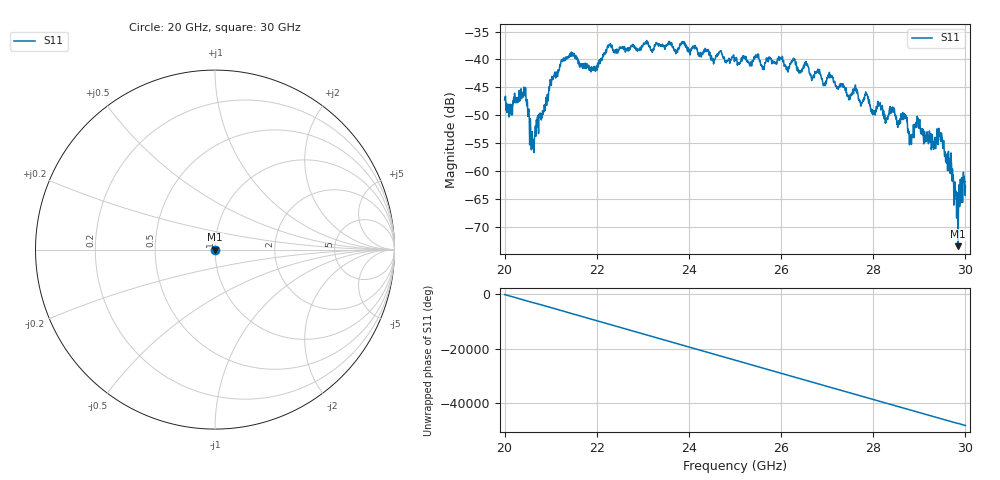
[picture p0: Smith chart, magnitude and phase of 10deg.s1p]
#  HZ  S  RI  R  50.00
! Rohde & Schwarz ZVA40 4Ports - Version 3.90 - 1145.1110k42 SN: 100403
! Date: 2023-10-03 12:42:46
! Measurement: S12
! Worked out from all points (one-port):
!   5001 points, 20 GHz to 30 GHz, reference 50 ohm
!   lowest |S11| = -73.5 dB at 29.84 GHz (marker M1), VSWR 1.00, Z = 50 + j0.00834 ohm
!   |S11| at or under -10 dB: start of sweep to end of sweep
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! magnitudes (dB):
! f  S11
! 20 GHz  -47.2
! 20.12 GHz  -48.0
! 20.42 GHz  -45.1
! 20.62 GHz  -55.5
! 21.01 GHz  -44.4
! 21.25 GHz  -40.4
! 21.47 GHz  -39.3
! 21.92 GHz  -41.5
! 22.26 GHz  -37.4
! 22.5 GHz  -38.0
! 23.75 GHz  -38.7
! 25 GHz  -39.9
! 26.25 GHz  -40.2
! 26.93 GHz  -44.3
! 27.07 GHz  -42.7
! 27.5 GHz  -46.8
! 27.85 GHz  -46.3
! 27.99 GHz  -49.6
! 28.15 GHz  -47.9
! 28.28 GHz  -50.9
! 28.41 GHz  -48.7
! 28.75 GHz  -53.1
! 28.81 GHz  -53.5
! 28.97 GHz  -51.1
! 29.31 GHz  -55.8
! 29.46 GHz  -54.4
! 29.84 GHz  -73.5
! 30 GHz  -62.6
